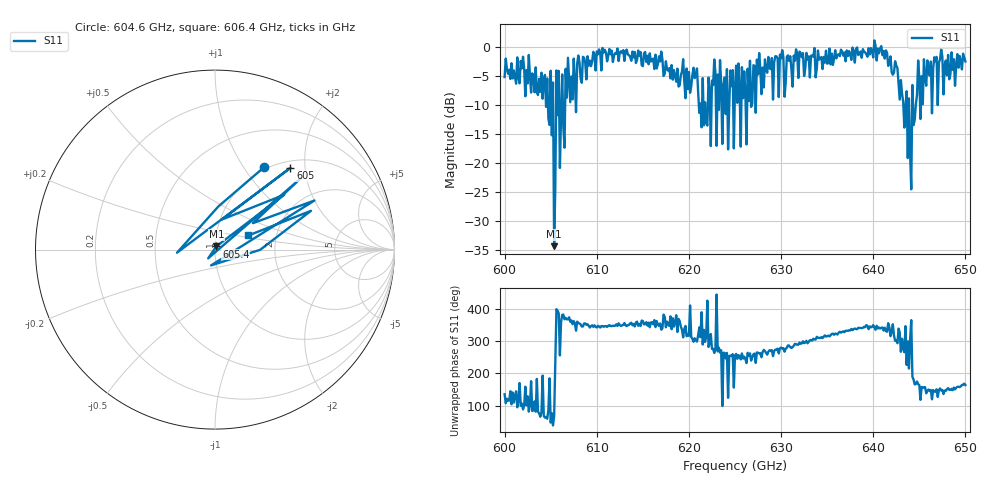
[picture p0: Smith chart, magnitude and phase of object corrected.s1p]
!Created with skrf (http://scikit-rf.org).
# GHz S MA R 50.0
!freq magS11 angS11
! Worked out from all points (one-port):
!   401 points, 600 GHz to 650 GHz, reference 50 ohm
!   lowest |S11| = -34.3 dB at 605.4 GHz (marker M1), VSWR 1.04, Z = 50.7 + j1.81 ohm
!   |S11| at or under -10 dB: 604.707 GHz to 604.9215 GHz (214.5 MHz wide, 0.0355 % of centre); 605.2671 GHz to 605.5883 GHz (321.2 MHz wide, 0.0531 % of centre); 605.9187 GHz to 606.1595 GHz (240.8 MHz wide, 0.0397 % of centre) (the widest 3 of 30)
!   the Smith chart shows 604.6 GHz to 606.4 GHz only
!   S11 on the Smith chart (normalised r, x): 604.6 GHz: 0.97, +1.24; 605 GHz: 1.13, +1.68; 605.4 GHz: 1.01, +0.04; 606.4 GHz: 1.44, +0.24
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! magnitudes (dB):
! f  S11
! 600 GHz  -5.2
! 601.9 GHz  -3.7
! 604.6 GHz  -5.5
! 605 GHz  -4.2
! 605.4 GHz  -34.3
! 605.9 GHz  -4.2
! 606.2 GHz  -4.8
! 606.4 GHz  -13.9
! 606.9 GHz  -1.9
! 608.8 GHz  -2.8
! 612.5 GHz  -1.0
! 618.8 GHz  -3.8
! 620.6 GHz  -5.4
! 621.6 GHz  -13.5
! 622.9 GHz  -4.5
! 625 GHz  -7.1
! 625.2 GHz  -9.7
! 626.5 GHz  -9.4
! 628.5 GHz  -4.5
! 631.2 GHz  -6.9
! 637.5 GHz  -1.3
! 641.6 GHz  -3.3
! 642.5 GHz  -3.3
! 643.8 GHz  -19.1
! 644.2 GHz  -6.6
! 644.8 GHz  -8.3
! 645.8 GHz  -6.7
! 650 GHz  -2.6
